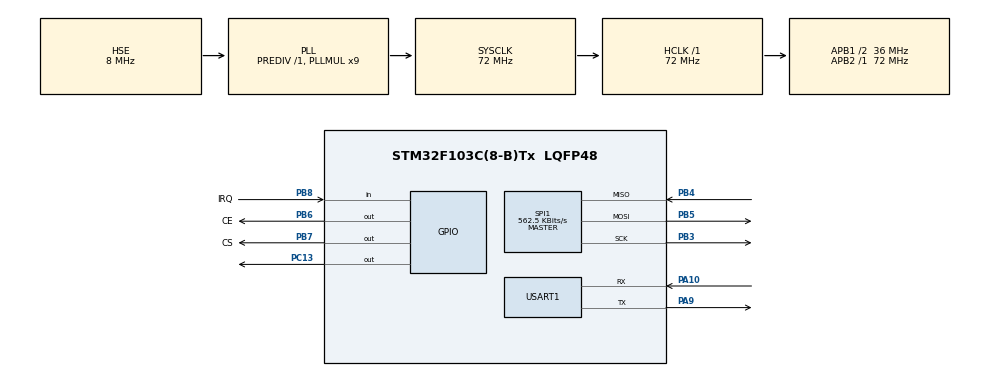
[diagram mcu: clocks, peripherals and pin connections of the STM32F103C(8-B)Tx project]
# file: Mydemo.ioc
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Mcu.Family=STM32F1
Mcu.Name=STM32F103C(8-B)Tx
Mcu.Package=LQFP48
NVIC.PriorityGroup=NVIC_PRIORITYGROUP_4
PA10.Mode=Asynchronous
PA10.Signal=USART1_RX
PA13.Mode=Serial_Wire
PA13.Signal=SYS_JTMS-SWDIO
PA14.Mode=Serial_Wire
PA14.Signal=SYS_JTCK-SWCLK
PA9.Mode=Asynchronous
PA9.Signal=USART1_TX
PB3.Mode=Full_Duplex_Master
PB3.Signal=SPI1_SCK
PB4.Mode=Full_Duplex_Master
PB4.Signal=SPI1_MISO
PB5.Mode=Full_Duplex_Master
PB5.Signal=SPI1_MOSI
PB6.GPIO_Label=CE
PB6.GPIO_Speed=GPIO_SPEED_FREQ_HIGH
PB6.PinState=GPIO_PIN_SET
PB6.Signal=GPIO_Output
PB7.GPIO_Label=CS
PB7.GPIO_Speed=GPIO_SPEED_FREQ_HIGH
PB7.PinState=GPIO_PIN_SET
PB7.Signal=GPIO_Output
PB8.GPIO_Label=IRQ
PB8.Signal=GPIO_Input
PC13-TAMPER-RTC.PinState=GPIO_PIN_SET
PC13-TAMPER-RTC.Signal=GPIO_Output
PD0-OSC_IN.Mode=HSE-External-Oscillator
PD0-OSC_IN.Signal=RCC_OSC_IN
PD1-OSC_OUT.Mode=HSE-External-Oscillator
PD1-OSC_OUT.Signal=RCC_OSC_OUT
ProjectManager.HeapSize=0x200
ProjectManager.StackSize=0x400
ProjectManager.TargetToolchain=MDK-ARM V5
RCC.AHBFreq_Value=72000000
RCC.APB1CLKDivider=RCC_HCLK_DIV2
RCC.APB1Freq_Value=36000000
RCC.APB1TimFreq_Value=72000000
RCC.APB2Freq_Value=72000000
RCC.APB2TimFreq_Value=72000000
RCC.HCLKFreq_Value=72000000
RCC.PLLMUL=RCC_PLL_MUL9
RCC.PLLSourceVirtual=RCC_PLLSOURCE_HSE
RCC.SYSCLKFreq_VALUE=72000000
RCC.SYSCLKSource=RCC_SYSCLKSOURCE_PLLCLK
RCC.USBFreq_Value=72000000
SPI1.BaudRatePrescaler=SPI_BAUDRATEPRESCALER_128
SPI1.CalculateBaudRate=562.5 KBits/s
SPI1.Direction=SPI_DIRECTION_2LINES
SPI1.Mode=SPI_MODE_MASTER
SPI1.VirtualType=VM_MASTER
USART1.VirtualMode=VM_ASYNC
board=custom

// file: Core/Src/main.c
/* USER CODE BEGIN Header */
/**
  ******************************************************************************
  * @file           : main.c
  * @brief          : Main program body
  ******************************************************************************
  * @attention
  *
  * <h2><center>&copy; Copyright (c) 2020 STMicroelectronics.
  * All rights reserved.</center></h2>
  *
  * This software component is licensed by ST under BSD 3-Clause license,
  * the "License"; You may not use this file except in compliance with the
  * License. You may obtain a copy of the License at:
  *                        opensource.org/licenses/BSD-3-Clause
  *
  ******************************************************************************
  */
/* USER CODE END Header */

#include "main.h"
#include "spi.h"
#include "usart.h"
#include "gpio.h"

/* USER CODE BEGIN Includes */
#include <stdio.h>
#include <string.h>
#include "bsp_NRF24L01.h"
/* USER CODE END Includes */

void SystemClock_Config(void);

int main(void)
{
  /* USER CODE BEGIN 1 */
	uint8_t tmp_buf[33]="This Piange'test XD 蛤蛤蛤";
	float numtest[3]={0};
	numtest[0]=11.11;
	numtest[1]=33.33;
	numtest[2]=66.66; //57 04 05 0D 0A 1A
  /* USER CODE END 1 */

  /* MCU Configuration--------------------------------------------------------*/

  /* Reset of all peripherals, Initializes the Flash interface and the Systick. */
  HAL_Init();

  /* Configure the system clock */
  SystemClock_Config();

  /* Initialize all configured peripherals */
  MX_GPIO_Init();
  MX_SPI1_Init();
  MX_USART1_UART_Init();
  /* USER CODE BEGIN 2 */
//	HAL_UART_Receive_IT(&huart1, (uint8_t *)&aRxBuffer, 1);
  /* USER CODE END 2 */

  /* Infinite loop */
  /* USER CODE BEGIN WHILE */

	/*改编自硬石科技历程*/
  while(NRF24L01_Check())
	{
    printf("ERROR\n");
		HAL_GPIO_TogglePin(GPIOC,GPIO_PIN_13);
		HAL_Delay(300);
	}

  NRF24L01_TX_Mode();  //进入数据发送模式，每1s发送一次数据

  while (1)
  {
    /* USER CODE END WHILE */

    /* USER CODE BEGIN 3 */
		HAL_GPIO_TogglePin(GPIOC,GPIO_PIN_13);
		HAL_Delay(10);

		/*下面是错误用法：！ 每调用一次Tx函数，就发送从起始地址算起的32字节，而不是只发送数组中的一个单元*/
		/*这样使用会导致发送函数寻址进入无效的地址，高位溢出自动补0*/
		/*HAL库串口发送函数原理类似*/
////	错误	NRF24L01_TxPacket((uint8_t *)&numtest[0]);
////	错误	NRF24L01_TxPacket((uint8_t *)&numtest[1]);
////	错误	NRF24L01_TxPacket((uint8_t *)&numtest[2]);

		/*Tx函数发送长度与TX_PLOAD_WIDTH宏有关，在.h中定义，默认32字节*/
		/*收发两端的WIDTH宏要保持一致！*/
		/*更改发送长度请更改宏！*/
		NRF24L01_TxPacket((uint8_t *)numtest); //发送之前先强制类型转换以匹配uint8_t型的指针，指针只标记首地址，不影响发送数据的内容

		/*另一种写法，效果一样，均为取首地址*/
//		NRF24L01_TxPacket((uint8_t *)&numtest[0]);

		/*初始程序*/
//		if(NRF24L01_TxPacket(tmp_buf)==TX_OK)
//    {
//      printf("发送成功：%s\n",tmp_buf);
//    }
//    else
//    {
//      printf("发送失败\n");
//    }

  }
  /* USER CODE END 3 */
}

void SystemClock_Config(void)
{
  RCC_OscInitTypeDef RCC_OscInitStruct = {0};
  RCC_ClkInitTypeDef RCC_ClkInitStruct = {0};

  /** Initializes the CPU, AHB and APB busses clocks
  */
  RCC_OscInitStruct.OscillatorType = RCC_OSCILLATORTYPE_HSE;
  RCC_OscInitStruct.HSEState = RCC_HSE_ON;
  RCC_OscInitStruct.HSEPredivValue = RCC_HSE_PREDIV_DIV1;
  RCC_OscInitStruct.HSIState = RCC_HSI_ON;
  RCC_OscInitStruct.PLL.PLLState = RCC_PLL_ON;
  RCC_OscInitStruct.PLL.PLLSource = RCC_PLLSOURCE_HSE;
  RCC_OscInitStruct.PLL.PLLMUL = RCC_PLL_MUL9;
  if (HAL_RCC_OscConfig(&RCC_OscInitStruct) != HAL_OK)
  {
    Error_Handler();
  }
  /** Initializes the CPU, AHB and APB busses clocks
  */
  RCC_ClkInitStruct.ClockType = RCC_CLOCKTYPE_HCLK|RCC_CLOCKTYPE_SYSCLK
                              |RCC_CLOCKTYPE_PCLK1|RCC_CLOCKTYPE_PCLK2;
  RCC_ClkInitStruct.SYSCLKSource = RCC_SYSCLKSOURCE_PLLCLK;
  RCC_ClkInitStruct.AHBCLKDivider = RCC_SYSCLK_DIV1;
  RCC_ClkInitStruct.APB1CLKDivider = RCC_HCLK_DIV2;
  RCC_ClkInitStruct.APB2CLKDivider = RCC_HCLK_DIV1;

  if (HAL_RCC_ClockConfig(&RCC_ClkInitStruct, FLASH_LATENCY_2) != HAL_OK)
  {
    Error_Handler();
  }
}

/* USER CODE BEGIN 4 */
int fputc(int ch, FILE *f)
{
  HAL_UART_Transmit(&huart1, (uint8_t *)&ch, 1, 0xffff);
  return ch;
}
int fgetc(FILE *f)
{
  uint8_t ch = 0;
  HAL_UART_Receive(&huart1, &ch, 1, 0xffff);
  return ch;
}
/* USER CODE END 4 */

void Error_Handler(void)
{
}

/************************ (C) COPYRIGHT STMicroelectronics *****END OF FILE****/
